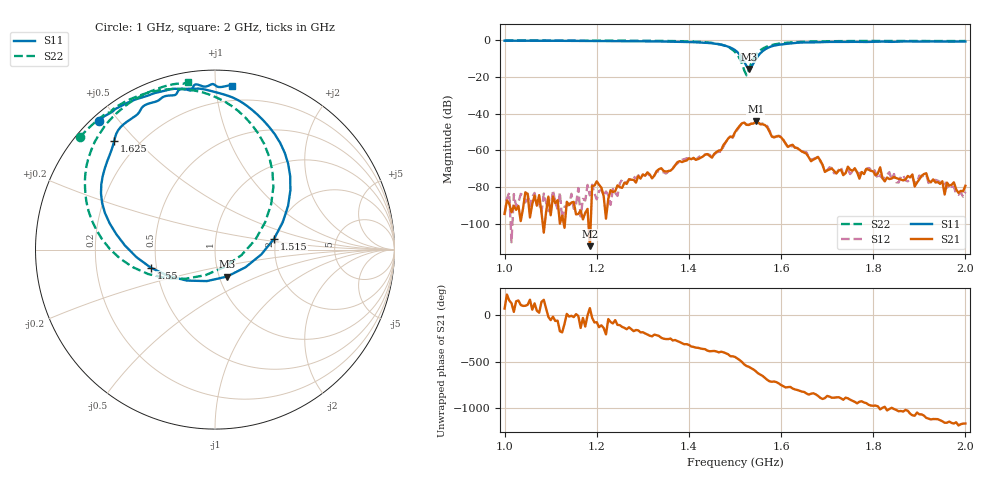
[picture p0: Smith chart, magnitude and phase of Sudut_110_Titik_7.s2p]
# Hz S RI R 50
! CMT, C1220, 16058040, 17.2.0/1
! Date: 14/08/2018 12:13:25
! Data: Format (Calibration Info)
! Freq  S11: Re/Im (F2)  S21: Re/Im (F2)  S12: Re/Im (F2)  S22: Re/Im (F2)
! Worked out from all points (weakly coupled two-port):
!   201 points, 1 GHz to 2 GHz, reference 50 ohm
!   highest |S21| = -44.26 dB at 1.545 GHz (marker M1); lowest = -112.1 dB at 1.185 GHz (marker M2)
!   lowest |S11| = -15.7 dB at 1.53 GHz (marker M3), VSWR 1.39, Z = 54.5 - j16.8 ohm
!   |S11| at or under -10 dB: 1.516 GHz to 1.546 GHz (30.13 MHz wide, 1.97 % of centre)
!   |S22| runs from -19.1 to -0.2 dB; largest |S21 - S12| = 0.00038
!   S11 on the Smith chart (normalised r, x): 1 GHz: 0.02, +0.44; 1.515 GHz: 1.95, +0.26; 1.55 GHz: 0.47, -0.11; 1.625 GHz: 0.11, +0.43; 2 GHz: 0.10, +1.11
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1e9  -0.6467 0.7146  6.34e-06 1.75e-05  -3.76e-06 1.88e-05  -0.7536 0.625
1.17e9  -0.4772 0.8226  1.13e-05 -6.89e-06  4.39e-05 -1.91e-05  -0.6166 0.7508
1.185e9  -0.4524 0.8328  6.38e-07 2.39e-06  5.73e-05 -1.66e-05  -0.5993 0.7601
1.335e9  -0.2183 0.8957  -0.000219 0.000216  -0.000134 0.000213  -0.4003 0.8654
1.45e9  0.1799 0.7995  0.000562 -0.000291  0.000533 -0.000337  0.0244 0.8399
1.5e9  0.42 0.3307  -2.93e-05 -0.00312  -7.32e-05 -0.00292  0.3253 0.3491
1.515e9  0.3281 0.0588  -0.00443 -0.00317  -0.00436 -0.00332  0.2251 0.0554
1.53e9  0.0671 -0.1503  -0.00472 0.0014  -0.00473 0.00134  -0.0531 -0.1424
1.545e9  -0.2631 -0.1462  -0.00272 0.00549  -0.00278 0.00538  -0.372 -0.1363
1.55e9  -0.3576 -0.1007  -0.000324 0.00575  -0.000623 0.00567  -0.4578 -0.098
1.625e9  -0.5619 0.6036  0.000479 -0.00133  0.000537 -0.0012  -0.7012 0.5201
1.67e9  -0.4425 0.7454  -0.000295 -0.000475  -0.000325 -0.000488  -0.6256 0.6724
1.715e9  -0.3612 0.8159  -0.000272 -5.1e-05  -0.000232 -5.27e-05  -0.5509 0.7574
1.76e9  -0.2702 0.8565  -0.000269 0.000185  -0.000273 0.000126  -0.4829 0.8128
1.77e9  -0.2452 0.8589  -0.000143 9.18e-05  -0.000168 0.000156  -0.4684 0.8229
1.815e9  -0.1855 0.8955  0.000147 0.000313  4.58e-05 0.000206  -0.4032 0.8608
1.835e9  -0.1429 0.8875  6.07e-05 0.000154  0.00011 0.000232  -0.3766 0.8739
1.85e9  -0.1267 0.8944  9.24e-05 0.00015  5.55e-05 0.000123  -0.356 0.8831
1.885e9  -0.0862 0.916  0.000221 4.95e-06  0.000184 2.4e-05  -0.3058 0.9018
1.89e9  -0.0758 0.9119  0.000104 -6.39e-06  0.000127 2.2e-05  -0.2984 0.9042
1.915e9  -0.0292 0.9166  0.000214 -0.000106  0.000181 -0.00012  -0.2649 0.9144
2e9  0.0962 0.9124  4.79e-06 -0.000109  1.92e-05 -7.3e-05  -0.1524 0.933
